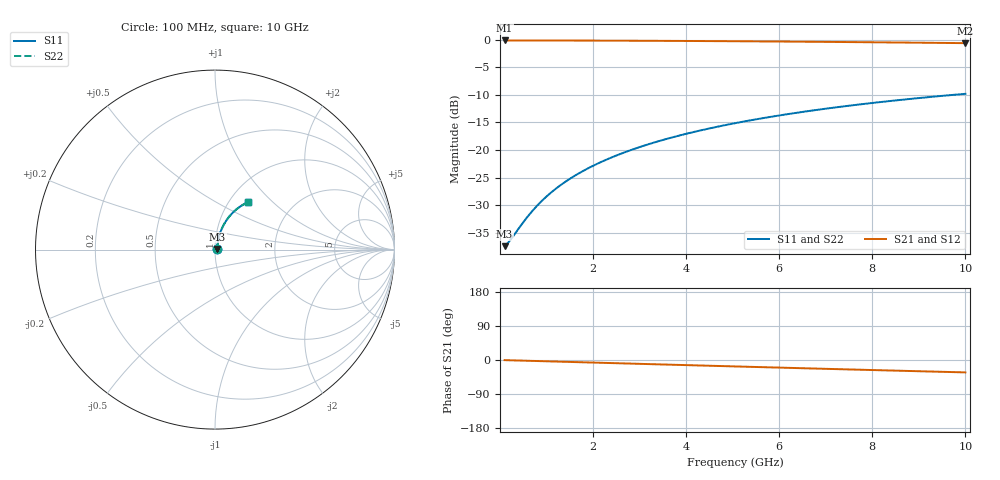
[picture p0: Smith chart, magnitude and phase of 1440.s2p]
# Hz S RI R 50.00
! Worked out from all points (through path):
!   100 points, 100 MHz to 10 GHz, reference 50 ohm
!   highest |S21| = -0.11 dB at 100 MHz (marker M1); lowest = -0.6 dB at 10 GHz (marker M2)
!   group delay of S21, straight-line fit = 9.11 ps
!   lowest |S11| = -37.4 dB at 100 MHz (marker M3), VSWR 1.03, Z = 51.3 + j0.356 ohm
!   |S11| at or under -10 dB: start of sweep to 9.726 GHz
!   |S22| runs from -37.4 to -9.8 dB; largest |S21 - S12| = 0
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1e8  0.013 0.00347  0.987 -0.00585  0.987 -0.00585  0.013 0.00347
2e8  0.0131 0.00694  0.9869 -0.0117  0.9869 -0.0117  0.0131 0.00694
5e8  0.0137 0.0173  0.9862 -0.0292  0.9862 -0.0292  0.0137 0.0173
6e8  0.014 0.0208  0.9859 -0.035  0.9859 -0.035  0.014 0.0208
7e8  0.0143 0.0242  0.9856 -0.0409  0.9856 -0.0409  0.0143 0.0242
9e8  0.015 0.0311  0.9848 -0.0525  0.9848 -0.0525  0.015 0.0311
1.1e9  0.0158 0.038  0.9838 -0.0641  0.9838 -0.0641  0.0158 0.038
1.3e9  0.0169 0.0449  0.9826 -0.0757  0.9826 -0.0757  0.0169 0.0449
1.5e9  0.0181 0.0517  0.9813 -0.0873  0.9813 -0.0873  0.0181 0.0517
1.8e9  0.0201 0.0618  0.9789 -0.1046  0.9789 -0.1046  0.0201 0.0618
2.1e9  0.0225 0.0719  0.9762 -0.1218  0.9762 -0.1218  0.0225 0.0719
2.5e9  0.0263 0.0852  0.9719 -0.1445  0.9719 -0.1445  0.0263 0.0852
2.9e9  0.0307 0.0982  0.9669 -0.1671  0.9669 -0.1671  0.0307 0.0982
3.4e9  0.037 0.1141  0.9597 -0.1949  0.9597 -0.1949  0.037 0.1141
3.8e9  0.0427 0.1265  0.9532 -0.2168  0.9532 -0.2168  0.0427 0.1265
4.2e9  0.0489 0.1386  0.946 -0.2385  0.946 -0.2385  0.0489 0.1386
5.1e9  0.0648 0.1645  0.9277 -0.2858  0.9277 -0.2858  0.0648 0.1645
5.9e9  0.081 0.1858  0.909 -0.3263  0.909 -0.3263  0.081 0.1858
6.7e9  0.0988 0.2054  0.8882 -0.365  0.8882 -0.365  0.0988 0.2054
7.5e9  0.1181 0.2231  0.8655 -0.4018  0.8655 -0.4018  0.1181 0.2231
8.4e9  0.1413 0.2406  0.8381 -0.4409  0.8381 -0.4409  0.1413 0.2406
1e10  0.1855 0.2652  0.7852 -0.5042  0.7852 -0.5042  0.1855 0.2652
